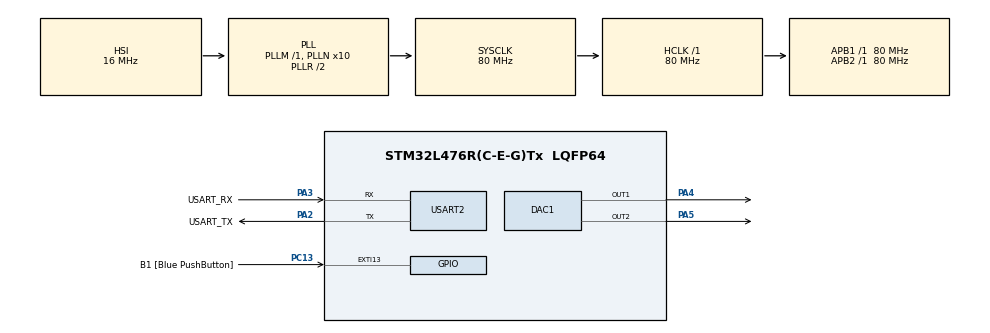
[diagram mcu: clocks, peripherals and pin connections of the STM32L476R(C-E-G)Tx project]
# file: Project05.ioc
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DAC1.DAC_Channel-DAC_OUT2=DAC_CHANNEL_2
DAC1.DAC_Trigger-DAC_OUT1=DAC_TRIGGER_T2_TRGO
DAC1.DAC_Trigger-DAC_OUT2=DAC_TRIGGER_T2_TRGO
Dma.DAC_CH1.0.Direction=DMA_MEMORY_TO_PERIPH
Dma.DAC_CH1.0.Instance=DMA1_Channel3
Dma.DAC_CH1.0.MemDataAlignment=DMA_MDATAALIGN_WORD
Dma.DAC_CH1.0.MemInc=DMA_MINC_ENABLE
Dma.DAC_CH1.0.Mode=DMA_CIRCULAR
Dma.DAC_CH1.0.PeriphDataAlignment=DMA_PDATAALIGN_WORD
Dma.DAC_CH1.0.PeriphInc=DMA_PINC_DISABLE
Dma.DAC_CH1.0.Priority=DMA_PRIORITY_HIGH
Dma.Request0=DAC_CH1
Mcu.Family=STM32L4
Mcu.Name=STM32L476R(C-E-G)Tx
Mcu.Package=LQFP64
NVIC.DMA1_Channel3_IRQn=true\:0\:0\:false\:false\:true\:false\:true\:true
NVIC.PriorityGroup=NVIC_PRIORITYGROUP_4
PA13\ (JTMS-SWDIO).GPIO_Label=TMS
PA13\ (JTMS-SWDIO).Mode=Serial_Wire
PA13\ (JTMS-SWDIO).Signal=SYS_JTMS-SWDIO
PA14\ (JTCK-SWCLK).GPIO_Label=TCK
PA14\ (JTCK-SWCLK).Mode=Serial_Wire
PA14\ (JTCK-SWCLK).Signal=SYS_JTCK-SWCLK
PA2.GPIO_Label=USART_TX
PA2.GPIO_Mode=GPIO_MODE_AF_PP
PA2.GPIO_PuPd=GPIO_NOPULL
PA2.GPIO_Speed=GPIO_SPEED_FREQ_VERY_HIGH
PA2.Mode=Asynchronous
PA2.Signal=USART2_TX
PA3.GPIO_Label=USART_RX
PA3.GPIO_Mode=GPIO_MODE_AF_PP
PA3.GPIO_PuPd=GPIO_NOPULL
PA3.GPIO_Speed=GPIO_SPEED_FREQ_VERY_HIGH
PA3.Mode=Asynchronous
PA3.Signal=USART2_RX
PA4.Signal=COMP_DAC11_group
PA5.Signal=COMP_DAC12_group
PB3\ (JTDO-TRACESWO).GPIO_Label=SWO
PB3\ (JTDO-TRACESWO).Signal=SYS_JTDO-SWO
PC13.GPIO_Label=B1 [Blue PushButton]
PC13.GPIO_ModeDefaultEXTI=GPIO_MODE_IT_FALLING
PC13.GPIO_PuPd=GPIO_NOPULL
PC13.Signal=GPXTI13
PC14-OSC32_IN\ (PC14).Mode=LSE-External-Oscillator
PC14-OSC32_IN\ (PC14).Signal=RCC_OSC32_IN
PC15-OSC32_OUT\ (PC15).Mode=LSE-External-Oscillator
PC15-OSC32_OUT\ (PC15).Signal=RCC_OSC32_OUT
PH0-OSC_IN\ (PH0).Signal=RCC_OSC_IN
PH1-OSC_OUT\ (PH1).Signal=RCC_OSC_OUT
ProjectManager.HeapSize=0x200
ProjectManager.StackSize=0x400
ProjectManager.TargetToolchain=STM32CubeIDE
RCC.ADCFreq_Value=64000000
RCC.AHBFreq_Value=80000000
RCC.APB1Freq_Value=80000000
RCC.APB1TimFreq_Value=80000000
RCC.APB2Freq_Value=80000000
RCC.APB2TimFreq_Value=80000000
RCC.CortexFreq_Value=80000000
RCC.HCLKFreq_Value=80000000
RCC.HSE_VALUE=8000000
RCC.HSI_VALUE=16000000
RCC.MSI_VALUE=4000000
RCC.PLLN=10
RCC.PLLSourceVirtual=RCC_PLLSOURCE_HSI
RCC.PREFETCH_ENABLE=1
RCC.SYSCLKFreq_VALUE=80000000
RCC.SYSCLKSource=RCC_SYSCLKSOURCE_PLLCLK
RCC.USBFreq_Value=64000000
RCC.VCOOutputFreq_Value=160000000
SH.COMP_DAC11_group.0=DAC1_OUT1,DAC_OUT1
SH.COMP_DAC12_group.0=DAC1_OUT2,DAC_OUT2
TIM2.Period=624
TIM2.Prescaler=0
TIM2.TIM_MasterOutputTrigger=TIM_TRGO_UPDATE
USART2.VirtualMode-Asynchronous=VM_ASYNC
VP_TIM2_VS_ClockSourceINT.Mode=Internal
board=NUCLEO-L476RG

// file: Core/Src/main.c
/* USER CODE BEGIN Header */
/**
  ******************************************************************************
  * @file           : main.c
  * @brief          : Main program body
  ******************************************************************************
  * @attention
  *
  * Copyright (c) 2022 STMicroelectronics.
  * All rights reserved.
  *
  * This software is licensed under terms that can be found in the LICENSE file
  * in the root directory of this software component.
  * If no LICENSE file comes with this software, it is provided AS-IS.
  *
  ******************************************************************************
  */
/* USER CODE END Header */
#include "main.h"

/* USER CODE BEGIN Includes */
#include "DAC.h"
/* USER CODE END Includes */

DAC_HandleTypeDef hdac1;
DMA_HandleTypeDef hdma_dac_ch1;

TIM_HandleTypeDef htim2;

UART_HandleTypeDef huart2;

/* USER CODE BEGIN PV */
DAC_info_t DAC_info = {
		.DAC_Handle = DAC1,
		.hdac = &hdac1,
		.channel = 0,
		.frequency = 1000,
		.maxv = 0,
		.minv = 0,
		.noise = 0,
		.noise_bits = 0,
		.signal = Rectangle
};

uint32_t wave_points[WAVE_POINTS];
/* USER CODE END PV */

void SystemClock_Config(void);
static void MX_GPIO_Init(void);
static void MX_DMA_Init(void);
static void MX_USART2_UART_Init(void);
static void MX_DAC1_Init(void);
static void MX_TIM2_Init(void);

int main(void)
{

  /* MCU Configuration--------------------------------------------------------*/

  /* Reset of all peripherals, Initializes the Flash interface and the Systick. */
  HAL_Init();

  /* Configure the system clock */
  SystemClock_Config();

  /* Initialize all configured peripherals */
  MX_GPIO_Init();
  MX_DMA_Init();
  MX_USART2_UART_Init();
  MX_DAC1_Init();
  MX_TIM2_Init();
  /* USER CODE BEGIN 2 */

  get_DAC_info(&DAC_info);
  start_DAC_signal(&DAC_info, wave_points);
  /* USER CODE END 2 */

  /* Infinite loop */
  while (1)
  {

    /* USER CODE BEGIN 3 */
  }
  // will never get here gets rid of ekg warning
  ekg[1]=0;
  /* USER CODE END 3 */
}

void SystemClock_Config(void)
{
  RCC_OscInitTypeDef RCC_OscInitStruct = {0};
  RCC_ClkInitTypeDef RCC_ClkInitStruct = {0};

  /** Configure the main internal regulator output voltage
  */
  if (HAL_PWREx_ControlVoltageScaling(PWR_REGULATOR_VOLTAGE_SCALE1) != HAL_OK)
  {
    Error_Handler();
  }

  /** Initializes the RCC Oscillators according to the specified parameters
  * in the RCC_OscInitTypeDef structure.
  */
  RCC_OscInitStruct.OscillatorType = RCC_OSCILLATORTYPE_HSI;
  RCC_OscInitStruct.HSIState = RCC_HSI_ON;
  RCC_OscInitStruct.HSICalibrationValue = RCC_HSICALIBRATION_DEFAULT;
  RCC_OscInitStruct.PLL.PLLState = RCC_PLL_ON;
  RCC_OscInitStruct.PLL.PLLSource = RCC_PLLSOURCE_HSI;
  RCC_OscInitStruct.PLL.PLLM = 1;
  RCC_OscInitStruct.PLL.PLLN = 10;
  RCC_OscInitStruct.PLL.PLLP = RCC_PLLP_DIV7;
  RCC_OscInitStruct.PLL.PLLQ = RCC_PLLQ_DIV2;
  RCC_OscInitStruct.PLL.PLLR = RCC_PLLR_DIV2;
  if (HAL_RCC_OscConfig(&RCC_OscInitStruct) != HAL_OK)
  {
    Error_Handler();
  }

  /** Initializes the CPU, AHB and APB buses clocks
  */
  RCC_ClkInitStruct.ClockType = RCC_CLOCKTYPE_HCLK|RCC_CLOCKTYPE_SYSCLK
                              |RCC_CLOCKTYPE_PCLK1|RCC_CLOCKTYPE_PCLK2;
  RCC_ClkInitStruct.SYSCLKSource = RCC_SYSCLKSOURCE_PLLCLK;
  RCC_ClkInitStruct.AHBCLKDivider = RCC_SYSCLK_DIV1;
  RCC_ClkInitStruct.APB1CLKDivider = RCC_HCLK_DIV1;
  RCC_ClkInitStruct.APB2CLKDivider = RCC_HCLK_DIV1;

  if (HAL_RCC_ClockConfig(&RCC_ClkInitStruct, FLASH_LATENCY_4) != HAL_OK)
  {
    Error_Handler();
  }
}

static void MX_DAC1_Init(void)
{

  DAC_ChannelConfTypeDef sConfig = {0};

  /** DAC Initialization
  */
  hdac1.Instance = DAC1;
  if (HAL_DAC_Init(&hdac1) != HAL_OK)
  {
    Error_Handler();
  }

  /** DAC channel OUT1 config
  */
  sConfig.DAC_SampleAndHold = DAC_SAMPLEANDHOLD_DISABLE;
  sConfig.DAC_Trigger = DAC_TRIGGER_T2_TRGO;
  sConfig.DAC_OutputBuffer = DAC_OUTPUTBUFFER_ENABLE;
  sConfig.DAC_ConnectOnChipPeripheral = DAC_CHIPCONNECT_DISABLE;
  sConfig.DAC_UserTrimming = DAC_TRIMMING_FACTORY;
  if (HAL_DAC_ConfigChannel(&hdac1, &sConfig, DAC_CHANNEL_1) != HAL_OK)
  {
    Error_Handler();
  }

  /** DAC channel OUT2 config
  */
  if (HAL_DAC_ConfigChannel(&hdac1, &sConfig, DAC_CHANNEL_2) != HAL_OK)
  {
    Error_Handler();
  }

}

static void MX_TIM2_Init(void)
{

  TIM_ClockConfigTypeDef sClockSourceConfig = {0};
  TIM_MasterConfigTypeDef sMasterConfig = {0};

  htim2.Instance = TIM2;
  htim2.Init.Prescaler = 0;
  htim2.Init.CounterMode = TIM_COUNTERMODE_UP;
  htim2.Init.Period = 624;
  htim2.Init.ClockDivision = TIM_CLOCKDIVISION_DIV1;
  htim2.Init.AutoReloadPreload = TIM_AUTORELOAD_PRELOAD_DISABLE;
  if (HAL_TIM_Base_Init(&htim2) != HAL_OK)
  {
    Error_Handler();
  }
  sClockSourceConfig.ClockSource = TIM_CLOCKSOURCE_INTERNAL;
  if (HAL_TIM_ConfigClockSource(&htim2, &sClockSourceConfig) != HAL_OK)
  {
    Error_Handler();
  }
  sMasterConfig.MasterOutputTrigger = TIM_TRGO_UPDATE;
  sMasterConfig.MasterSlaveMode = TIM_MASTERSLAVEMODE_DISABLE;
  if (HAL_TIMEx_MasterConfigSynchronization(&htim2, &sMasterConfig) != HAL_OK)
  {
    Error_Handler();
  }
  /* USER CODE BEGIN TIM2_Init 2 */
  HAL_TIM_Base_Start(&htim2);
  /* USER CODE END TIM2_Init 2 */

}

static void MX_USART2_UART_Init(void)
{

  huart2.Instance = USART2;
  huart2.Init.BaudRate = 115200;
  huart2.Init.WordLength = UART_WORDLENGTH_8B;
  huart2.Init.StopBits = UART_STOPBITS_1;
  huart2.Init.Parity = UART_PARITY_NONE;
  huart2.Init.Mode = UART_MODE_TX_RX;
  huart2.Init.HwFlowCtl = UART_HWCONTROL_NONE;
  huart2.Init.OverSampling = UART_OVERSAMPLING_16;
  huart2.Init.OneBitSampling = UART_ONE_BIT_SAMPLE_DISABLE;
  huart2.AdvancedInit.AdvFeatureInit = UART_ADVFEATURE_NO_INIT;
  if (HAL_UART_Init(&huart2) != HAL_OK)
  {
    Error_Handler();
  }

}

static void MX_DMA_Init(void)
{

  /* DMA controller clock enable */
  __HAL_RCC_DMA1_CLK_ENABLE();

  /* DMA interrupt init */
  /* DMA1_Channel3_IRQn interrupt configuration */
  HAL_NVIC_SetPriority(DMA1_Channel3_IRQn, 0, 0);
  HAL_NVIC_EnableIRQ(DMA1_Channel3_IRQn);

}

static void MX_GPIO_Init(void)
{
  GPIO_InitTypeDef GPIO_InitStruct = {0};

  /* GPIO Ports Clock Enable */
  __HAL_RCC_GPIOC_CLK_ENABLE();
  __HAL_RCC_GPIOH_CLK_ENABLE();
  __HAL_RCC_GPIOA_CLK_ENABLE();
  __HAL_RCC_GPIOB_CLK_ENABLE();

  /*Configure GPIO pin : B1_Pin */
  GPIO_InitStruct.Pin = B1_Pin;
  GPIO_InitStruct.Mode = GPIO_MODE_IT_FALLING;
  GPIO_InitStruct.Pull = GPIO_NOPULL;
  HAL_GPIO_Init(B1_GPIO_Port, &GPIO_InitStruct);

}

void Error_Handler(void)
{
  __disable_irq();
  while (1)
  {
  }
}
